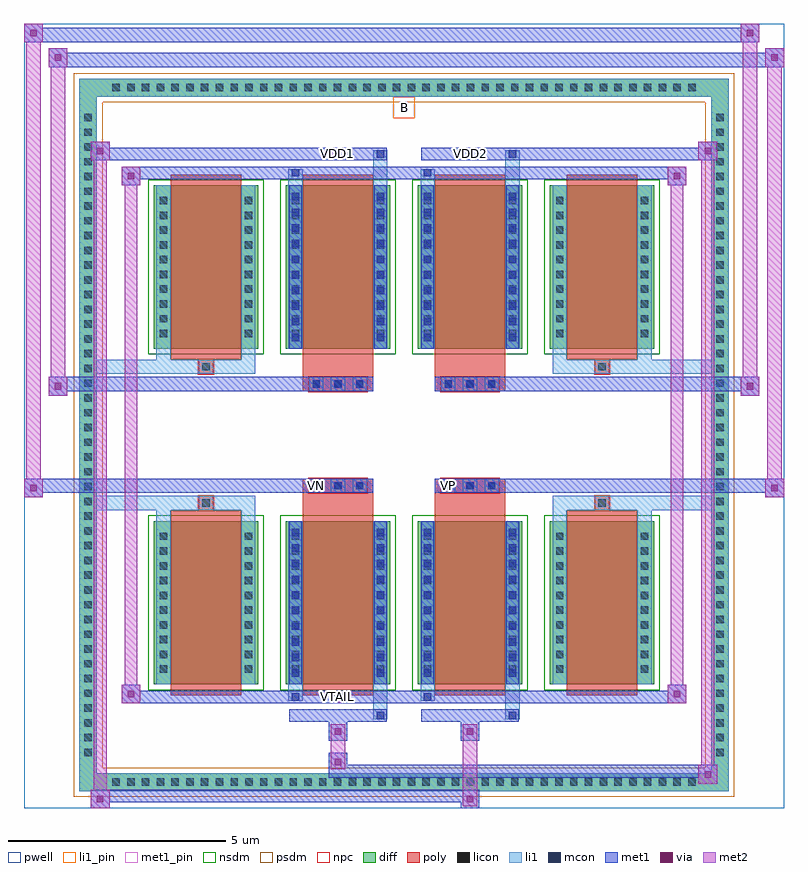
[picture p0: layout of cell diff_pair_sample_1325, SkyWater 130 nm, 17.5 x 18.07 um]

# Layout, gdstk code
import gdstk
lib = gdstk.Library(unit=1e-6, precision=5e-09)
def R(c, l, rs):  # rectangles x0, y0, x1, y1
    for r in rs: c.add(gdstk.rectangle(r[:2], r[2:], *l))
def A(c, l, x, y, w, h, nx, ny, dx, dy):  # array of equal rectangles
    R(c, l, [(x+i*dx, y+j*dy, x+i*dx+w, y+j*dy+h) for i in range(nx) for j in range(ny)])
def P(c, l, *ps):  # polygons
    for p in ps: c.add(gdstk.Polygon(p, *l))
pwell = (64, 44)
diff = (65, 20)
poly = (66, 20)
licon = (66, 44)
li1_pin = (67, 16)
li1 = (67, 20)
mcon = (67, 44)
met1_pin = (68, 16)
met1 = (68, 20)
via = (68, 44)
met2 = (69, 20)
nsdm = (93, 44)
psdm = (94, 20)
npc = (95, 20)

diff_pair_sample_1325 = lib.new_cell('diff_pair_sample_1325')
R(diff_pair_sample_1325, pwell, [(-8.75,-8.6,8.75,9.47), (-6.07,-6.79,-0.01,-0.805), (0.01,-6.79,6.07,-0.805), (-6.07,0.805,-0.01,6.79), (0.01,0.805,6.07,6.79)])
A(diff_pair_sample_1325, diff, -6.835, -8.2, 0.41, 0.41, 40, 2, 0.34, 15.99)
A(diff_pair_sample_1325, diff, -7.48, -7.515, 0.41, 0.41, 1, 44, 0, 0.34)
A(diff_pair_sample_1325, diff, 7.07, -7.515, 0.41, 0.41, 1, 44, 0, 0.34)
A(diff_pair_sample_1325, diff, -5.76, -5.745, 2.4, 3.76, 4, 2, 3.04, 7.73)
R(diff_pair_sample_1325, diff, [(-6.835,-8.2,6.835,-7.79), (-7.48,-7.515,-7.07,7.515), (7.07,-7.515,7.48,7.515), (-6.835,7.79,6.835,8.2)])
P(diff_pair_sample_1325, diff, [(7.48,8.2),(-7.48,8.2),(-7.48,-7.79),(-7.07,-7.79),(-7.07,7.79),(7.07,7.79),(7.07,-7.79),(-7.07,-7.79),(-7.48,-7.79),(-7.48,-8.2),(7.48,-8.2)])
A(diff_pair_sample_1325, poly, -5.37, -5.995, 1.62, 4.26, 4, 2, 3.04, 7.73)
A(diff_pair_sample_1325, poly, -2.185, -1.335, 0.33, 0.33, 3, 2, 0.5, 2.34)
A(diff_pair_sample_1325, poly, 0.855, -1.335, 0.33, 0.33, 3, 2, 0.5, 2.34)
R(diff_pair_sample_1325, poly, [(-4.725,-1.735,-4.395,-1.405), (-4.725,-1.735,-4.395,-1.405), (-2.33,-1.735,-0.71,-1.335), (0.71,-1.735,2.33,-1.335), (4.395,-1.735,4.725,-1.405), (4.395,-1.735,4.725,-1.405), (-2.33,-1.335,-0.71,-1.005), (0.71,-1.335,2.33,-1.005), (-2.33,1.005,-0.71,1.335), (0.71,1.005,2.33,1.335), (-2.33,1.335,-0.71,1.735), (0.71,1.335,2.33,1.735), (-4.725,1.405,-4.395,1.735), (-4.725,1.405,-4.395,1.735), (4.395,1.405,4.725,1.735), (4.395,1.405,4.725,1.735)])
A(diff_pair_sample_1325, licon, -6.715, -8.08, 0.17, 0.17, 40, 2, 0.34, 15.99)
A(diff_pair_sample_1325, licon, -7.36, -7.395, 0.17, 0.17, 1, 44, 0, 0.34)
A(diff_pair_sample_1325, licon, 7.19, -7.395, 0.17, 0.17, 1, 44, 0, 0.34)
A(diff_pair_sample_1325, licon, -5.62, -5.48, 0.17, 0.17, 1, 10, 0, 0.34)
A(diff_pair_sample_1325, licon, -3.67, -5.48, 0.17, 0.17, 1, 10, 0, 0.34)
A(diff_pair_sample_1325, licon, -2.58, -5.48, 0.17, 0.17, 1, 10, 0, 0.34)
A(diff_pair_sample_1325, licon, -0.63, -5.48, 0.17, 0.17, 1, 10, 0, 0.34)
A(diff_pair_sample_1325, licon, 0.46, -5.48, 0.17, 0.17, 1, 10, 0, 0.34)
A(diff_pair_sample_1325, licon, 2.41, -5.48, 0.17, 0.17, 1, 10, 0, 0.34)
A(diff_pair_sample_1325, licon, 3.5, -5.48, 0.17, 0.17, 1, 10, 0, 0.34)
A(diff_pair_sample_1325, licon, 5.45, -5.48, 0.17, 0.17, 1, 10, 0, 0.34)
A(diff_pair_sample_1325, licon, -2.105, -1.255, 0.17, 0.17, 3, 2, 0.5, 2.34)
A(diff_pair_sample_1325, licon, 0.935, -1.255, 0.17, 0.17, 3, 2, 0.5, 2.34)
A(diff_pair_sample_1325, licon, -5.62, 2.25, 0.17, 0.17, 1, 10, 0, 0.34)
A(diff_pair_sample_1325, licon, -3.67, 2.25, 0.17, 0.17, 1, 10, 0, 0.34)
A(diff_pair_sample_1325, licon, -2.58, 2.25, 0.17, 0.17, 1, 10, 0, 0.34)
A(diff_pair_sample_1325, licon, -0.63, 2.25, 0.17, 0.17, 1, 10, 0, 0.34)
A(diff_pair_sample_1325, licon, 0.46, 2.25, 0.17, 0.17, 1, 10, 0, 0.34)
A(diff_pair_sample_1325, licon, 2.41, 2.25, 0.17, 0.17, 1, 10, 0, 0.34)
A(diff_pair_sample_1325, licon, 3.5, 2.25, 0.17, 0.17, 1, 10, 0, 0.34)
A(diff_pair_sample_1325, licon, 5.45, 2.25, 0.17, 0.17, 1, 10, 0, 0.34)
R(diff_pair_sample_1325, licon, [(-4.645,-1.655,-4.475,-1.485), (4.475,-1.655,4.645,-1.485), (-4.645,1.485,-4.475,1.655), (4.475,1.485,4.645,1.655)])
R(diff_pair_sample_1325, li1_pin, [(-0.25,7.29,0.25,7.79)])
A(diff_pair_sample_1325, li1, -6.795, -8.16, 0.33, 0.33, 40, 2, 0.34, 15.99)
A(diff_pair_sample_1325, li1, -7.44, -7.475, 0.33, 0.33, 1, 44, 0, 0.34)
A(diff_pair_sample_1325, li1, 7.11, -7.475, 0.33, 0.33, 1, 44, 0, 0.34)
A(diff_pair_sample_1325, li1, -2.58, -5.57, 0.17, 0.17, 1, 10, 0, 0.36)
A(diff_pair_sample_1325, li1, -0.63, -5.57, 0.17, 0.17, 1, 10, 0, 0.36)
A(diff_pair_sample_1325, li1, 0.46, -5.57, 0.17, 0.17, 1, 10, 0, 0.36)
A(diff_pair_sample_1325, li1, 2.41, -5.57, 0.17, 0.17, 1, 10, 0, 0.36)
A(diff_pair_sample_1325, li1, -5.7, -5.56, 0.33, 0.33, 1, 10, 0, 0.34)
A(diff_pair_sample_1325, li1, -3.75, -5.56, 0.33, 0.33, 1, 10, 0, 0.34)
A(diff_pair_sample_1325, li1, -2.66, -5.56, 0.33, 0.33, 1, 10, 0, 0.34)
A(diff_pair_sample_1325, li1, -0.71, -5.56, 0.33, 0.33, 1, 10, 0, 0.34)
A(diff_pair_sample_1325, li1, 0.38, -5.56, 0.33, 0.33, 1, 10, 0, 0.34)
A(diff_pair_sample_1325, li1, 2.33, -5.56, 0.33, 0.33, 1, 10, 0, 0.34)
A(diff_pair_sample_1325, li1, 3.42, -5.56, 0.33, 0.33, 1, 10, 0, 0.34)
A(diff_pair_sample_1325, li1, 5.37, -5.56, 0.33, 0.33, 1, 10, 0, 0.34)
A(diff_pair_sample_1325, li1, -2.185, -1.335, 0.33, 0.33, 3, 2, 0.5, 2.34)
A(diff_pair_sample_1325, li1, 0.855, -1.335, 0.33, 0.33, 3, 2, 0.5, 2.34)
A(diff_pair_sample_1325, li1, -2.58, 2.16, 0.17, 0.17, 1, 10, 0, 0.36)
A(diff_pair_sample_1325, li1, -0.63, 2.16, 0.17, 0.17, 1, 10, 0, 0.36)
A(diff_pair_sample_1325, li1, 0.46, 2.16, 0.17, 0.17, 1, 10, 0, 0.36)
A(diff_pair_sample_1325, li1, 2.41, 2.16, 0.17, 0.17, 1, 10, 0, 0.36)
A(diff_pair_sample_1325, li1, -5.7, 2.17, 0.33, 0.33, 1, 10, 0, 0.34)
A(diff_pair_sample_1325, li1, -3.75, 2.17, 0.33, 0.33, 1, 10, 0, 0.34)
A(diff_pair_sample_1325, li1, -2.66, 2.17, 0.33, 0.33, 1, 10, 0, 0.34)
A(diff_pair_sample_1325, li1, -0.71, 2.17, 0.33, 0.33, 1, 10, 0, 0.34)
A(diff_pair_sample_1325, li1, 0.38, 2.17, 0.33, 0.33, 1, 10, 0, 0.34)
A(diff_pair_sample_1325, li1, 2.33, 2.17, 0.33, 0.33, 1, 10, 0, 0.34)
A(diff_pair_sample_1325, li1, 3.42, 2.17, 0.33, 0.33, 1, 10, 0, 0.34)
A(diff_pair_sample_1325, li1, 5.37, 2.17, 0.33, 0.33, 1, 10, 0, 0.34)
R(diff_pair_sample_1325, li1, [(-7.48,-8.2,-7.07,-7.79), (-7.48,-8.2,-7.07,-7.79), (-7.07,-8.2,7.07,-7.79), (7.07,-8.2,7.48,-7.79), (7.07,-8.2,7.48,-7.79), (-7.48,-7.79,-7.07,7.79), (7.07,-7.79,7.48,7.79), (-0.71,-6.55,-0.38,-5.745), (-0.63,-6.55,-0.46,-6.38), (2.33,-6.55,2.66,-5.745), (2.41,-6.55,2.58,-6.38), (-2.66,-6.12,-2.33,-5.745), (-2.58,-6.12,-2.41,-5.95), (0.38,-6.12,0.71,-5.745), (0.46,-6.12,0.63,-5.95), (-5.7,-5.745,-5.37,-1.985), (-3.75,-5.745,-3.42,-1.985), (-2.66,-5.745,-2.33,-1.985), (-0.71,-5.745,-0.38,-1.985), (0.38,-5.745,0.71,-1.985), (2.33,-5.745,2.66,-1.985), (3.42,-5.745,3.75,-1.985), (5.37,-5.745,5.7,-1.985), (-2.58,-5.57,-2.41,-2.16), (-0.63,-5.57,-0.46,-2.16), (0.46,-5.57,0.63,-2.16), (2.41,-5.57,2.58,-2.16), (-5.7,-1.985,-5.37,-1.405), (-3.75,-1.985,-3.42,-1.405), (3.42,-1.985,3.75,-1.405), (5.37,-1.985,5.7,-1.405), (-7.48,-1.735,-4.725,-1.405), (-5.7,-1.735,-4.725,-1.405), (-4.725,-1.735,-4.395,-1.405), (-4.395,-1.735,-3.42,-1.405), (3.42,-1.735,4.395,-1.405), (4.395,-1.735,4.725,-1.405), (4.395,-1.735,7.48,-1.405), (4.725,-1.735,5.7,-1.405), (-7.48,1.405,-4.725,1.735), (-5.7,1.405,-4.725,1.735), (-5.7,1.405,-5.37,1.985), (-4.725,1.405,-4.395,1.735), (-4.395,1.405,-3.42,1.735), (-3.75,1.405,-3.42,1.985), (3.42,1.405,4.395,1.735), (3.42,1.405,3.75,1.985), (4.395,1.405,4.725,1.735), (4.395,1.405,7.48,1.735), (4.725,1.405,5.7,1.735), (5.37,1.405,5.7,1.985), (-5.7,1.985,-5.37,5.745), (-3.75,1.985,-3.42,5.745), (-2.66,1.985,-2.33,5.745), (-0.71,1.985,-0.38,5.745), (0.38,1.985,0.71,5.745), (2.33,1.985,2.66,5.745), (3.42,1.985,3.75,5.745), (5.37,1.985,5.7,5.745), (-2.58,2.16,-2.41,5.57), (-0.63,2.16,-0.46,5.57), (0.46,2.16,0.63,5.57), (2.41,2.16,2.58,5.57), (-2.66,5.745,-2.33,6.12), (-0.71,5.745,-0.38,6.55), (0.38,5.745,0.71,6.12), (2.33,5.745,2.66,6.55), (-2.58,5.95,-2.41,6.12), (0.46,5.95,0.63,6.12), (-0.63,6.38,-0.46,6.55), (2.41,6.38,2.58,6.55), (-7.48,7.79,-7.07,8.2), (-7.48,7.79,-7.07,8.2), (-7.07,7.79,7.07,8.2), (7.07,7.79,7.48,8.2), (7.07,7.79,7.48,8.2)])
A(diff_pair_sample_1325, mcon, -2.58, -5.57, 0.17, 0.17, 1, 10, 0, 0.36)
A(diff_pair_sample_1325, mcon, -0.63, -5.57, 0.17, 0.17, 1, 10, 0, 0.36)
A(diff_pair_sample_1325, mcon, 0.46, -5.57, 0.17, 0.17, 1, 10, 0, 0.36)
A(diff_pair_sample_1325, mcon, 2.41, -5.57, 0.17, 0.17, 1, 10, 0, 0.36)
A(diff_pair_sample_1325, mcon, -2.105, -1.255, 0.17, 0.17, 3, 2, 0.5, 2.34)
A(diff_pair_sample_1325, mcon, 0.935, -1.255, 0.17, 0.17, 3, 2, 0.5, 2.34)
A(diff_pair_sample_1325, mcon, -2.58, 2.16, 0.17, 0.17, 1, 10, 0, 0.36)
A(diff_pair_sample_1325, mcon, -0.63, 2.16, 0.17, 0.17, 1, 10, 0, 0.36)
A(diff_pair_sample_1325, mcon, 0.46, 2.16, 0.17, 0.17, 1, 10, 0, 0.36)
A(diff_pair_sample_1325, mcon, 2.41, 2.16, 0.17, 0.17, 1, 10, 0, 0.36)
R(diff_pair_sample_1325, mcon, [(-0.63,-6.55,-0.46,-6.38), (2.41,-6.55,2.58,-6.38), (-2.58,-6.12,-2.41,-5.95), (0.46,-6.12,0.63,-5.95), (-2.58,5.95,-2.41,6.12), (0.46,5.95,0.63,6.12), (-0.63,6.38,-0.46,6.55), (2.41,6.38,2.58,6.55)])
R(diff_pair_sample_1325, met1_pin, [(-1.655,-6.16,-1.385,-5.89), (-2.155,-1.295,-1.885,-1.025), (0.885,-1.295,1.155,-1.025), (-1.655,6.34,-1.385,6.61), (1.385,6.34,1.655,6.61)])
A(diff_pair_sample_1325, met1, -2.64, -5.63, 0.29, 0.29, 1, 10, 0, 0.36)
A(diff_pair_sample_1325, met1, -0.69, -5.63, 0.29, 0.29, 1, 10, 0, 0.36)
A(diff_pair_sample_1325, met1, 0.4, -5.63, 0.29, 0.29, 1, 10, 0, 0.36)
A(diff_pair_sample_1325, met1, 2.35, -5.63, 0.29, 0.29, 1, 10, 0, 0.36)
A(diff_pair_sample_1325, met1, -2.165, -1.315, 0.29, 0.29, 3, 2, 0.5, 2.34)
A(diff_pair_sample_1325, met1, 0.875, -1.315, 0.29, 0.29, 3, 2, 0.5, 2.34)
A(diff_pair_sample_1325, met1, -2.64, 2.1, 0.29, 0.29, 1, 10, 0, 0.36)
A(diff_pair_sample_1325, met1, -0.69, 2.1, 0.29, 0.29, 1, 10, 0, 0.36)
A(diff_pair_sample_1325, met1, 0.4, 2.1, 0.29, 0.29, 1, 10, 0, 0.36)
A(diff_pair_sample_1325, met1, 2.35, 2.1, 0.29, 0.29, 1, 10, 0, 0.36)
R(diff_pair_sample_1325, met1, [(-7.21,-8.6,-6.78,-8.17), (1.305,-8.6,1.735,-8.17), (-7.21,-8.46,1.735,-8.17), (6.78,-8.03,7.21,-7.6), (-1.735,-7.89,7.21,-7.6), (-1.735,-7.75,-1.305,-7.32), (-1.735,-7.04,-1.305,-6.61), (1.305,-7.04,1.735,-6.61), (-2.64,-6.61,-0.4,-6.32), (-0.69,-6.61,-0.4,-6.32), (0.4,-6.61,2.64,-6.32), (2.35,-6.61,2.64,-6.32), (-6.5,-6.18,-6.07,-5.75), (-6.5,-6.18,-2.64,-5.89), (-2.64,-6.18,-2.35,-5.89), (-2.64,-6.18,-0.4,-5.89), (-0.4,-6.18,0.4,-5.89), (0.4,-6.18,0.69,-5.89), (0.4,-6.18,2.64,-5.89), (2.64,-6.18,6.5,-5.89), (6.07,-6.18,6.5,-5.75), (-2.64,-5.745,-2.35,-1.985), (-0.69,-5.745,-0.4,-1.985), (0.4,-5.745,0.69,-1.985), (2.35,-5.745,2.64,-1.985), (-8.75,-1.435,-8.32,-1.005), (8.32,-1.435,8.75,-1.005), (-8.75,-1.335,-0.71,-1.005), (-2.33,-1.335,-0.71,-1.005), (0.71,-1.335,2.33,-1.005), (0.71,-1.335,8.75,-1.005), (-8.18,0.905,-7.75,1.335), (7.75,0.905,8.18,1.335), (-8.18,1.005,-2.33,1.335), (-2.33,1.005,-0.71,1.335), (0.71,1.005,2.33,1.335), (2.33,1.005,8.18,1.335), (-2.64,1.985,-2.35,5.745), (-0.69,1.985,-0.4,5.745), (0.4,1.985,0.69,5.745), (2.35,1.985,2.64,5.745), (-6.5,5.75,-6.07,6.18), (6.07,5.75,6.5,6.18), (-6.5,5.89,-2.64,6.18), (-2.64,5.89,-2.35,6.18), (-2.64,5.89,-0.4,6.18), (-0.4,5.89,0.4,6.18), (0.4,5.89,0.69,6.18), (0.4,5.89,2.64,6.18), (2.64,5.89,6.5,6.18), (-7.21,6.32,-6.78,6.75), (-7.21,6.32,-2.64,6.61), (-2.64,6.32,-0.4,6.61), (-0.69,6.32,-0.4,6.61), (0.4,6.32,2.64,6.61), (2.35,6.32,2.64,6.61), (2.64,6.32,7.21,6.61), (6.78,6.32,7.21,6.75), (-8.18,8.47,-7.75,8.9), (-8.18,8.47,-6.07,8.8), (-6.07,8.47,6.07,8.8), (6.07,8.47,8.75,8.8), (8.32,8.47,8.75,8.9), (-8.75,9.04,-8.32,9.47), (-8.75,9.04,-6.07,9.37), (-6.07,9.04,6.07,9.37), (6.07,9.04,8.18,9.37), (7.75,9.04,8.18,9.47)])
R(diff_pair_sample_1325, via, [(-7.07,-8.46,-6.92,-8.31), (1.445,-8.46,1.595,-8.31), (6.92,-7.89,7.07,-7.74), (-1.595,-7.61,-1.445,-7.46), (-1.595,-6.9,-1.445,-6.75), (1.445,-6.9,1.595,-6.75), (-6.36,-6.04,-6.21,-5.89), (6.21,-6.04,6.36,-5.89), (-8.61,-1.295,-8.46,-1.145), (8.46,-1.295,8.61,-1.145), (-8.04,1.045,-7.89,1.195), (7.89,1.045,8.04,1.195), (-6.36,5.89,-6.21,6.04), (6.21,5.89,6.36,6.04), (-7.07,6.46,-6.92,6.61), (6.92,6.46,7.07,6.61), (-8.04,8.61,-7.89,8.76), (8.46,8.61,8.61,8.76), (-8.61,9.18,-8.46,9.33), (7.89,9.18,8.04,9.33)])
R(diff_pair_sample_1325, met2, [(-7.21,-8.6,-6.78,-8.17), (-7.14,-8.6,-6.85,6.75), (-6.85,-8.6,-6.78,-8.17), (-7.16,-8.55,-6.83,-8.22), (1.355,-8.55,1.685,-8.22), (1.355,-8.22,1.685,-6.99), (6.78,-8.03,7.21,-7.6), (6.85,-8.03,7.14,6.75), (7.14,-8.03,7.21,-7.6), (6.83,-7.98,7.16,-7.65), (-1.685,-7.7,-1.355,-7.37), (-1.685,-7.37,-1.355,-6.99), (-1.685,-6.99,-1.355,-6.66), (1.355,-6.99,1.685,-6.66), (-6.5,-6.18,-6.07,-5.75), (-6.43,-6.18,-6.14,6.18), (-6.14,-6.18,-6.07,-5.75), (6.07,-6.18,6.5,-5.75), (6.14,-6.18,6.43,6.18), (6.43,-6.18,6.5,-5.75), (-6.45,-6.13,-6.12,-5.8), (6.12,-6.13,6.45,-5.8), (-8.75,-1.435,-8.32,-1.005), (-8.7,-1.435,-8.37,9.47), (-8.37,-1.435,-8.32,-1.005), (8.32,-1.435,8.75,-1.005), (8.37,-1.435,8.7,8.9), (8.7,-1.435,8.75,-1.005), (-8.7,-1.385,-8.37,-1.055), (8.37,-1.385,8.7,-1.055), (-8.18,0.905,-7.75,1.335), (-8.13,0.905,-7.8,8.9), (-7.8,0.905,-7.75,1.335), (7.75,0.905,8.18,1.335), (7.8,0.905,8.13,9.47), (8.13,0.905,8.18,1.335), (-8.13,0.955,-7.8,1.285), (7.8,0.955,8.13,1.285), (-6.5,5.75,-6.07,6.18), (-6.14,5.75,-6.07,6.18), (6.07,5.75,6.5,6.18), (6.43,5.75,6.5,6.18), (-6.45,5.8,-6.12,6.13), (6.12,5.8,6.45,6.13), (-7.21,6.32,-6.78,6.75), (-6.85,6.32,-6.78,6.75), (6.78,6.32,7.21,6.75), (7.14,6.32,7.21,6.75), (-7.16,6.37,-6.83,6.7), (6.83,6.37,7.16,6.7), (-8.18,8.47,-7.75,8.9), (-7.8,8.47,-7.75,8.9), (8.32,8.47,8.75,8.9), (8.7,8.47,8.75,8.9), (-8.13,8.52,-7.8,8.85), (8.37,8.52,8.7,8.85), (-8.75,9.04,-8.32,9.47), (-8.37,9.04,-8.32,9.47), (7.75,9.04,8.18,9.47), (8.13,9.04,8.18,9.47), (-8.7,9.09,-8.37,9.42), (7.8,9.09,8.13,9.42)])
A(diff_pair_sample_1325, nsdm, -5.89, -5.875, 2.66, 4.02, 4, 2, 3.04, 7.73)
P(diff_pair_sample_1325, psdm, [(7.61,8.33),(-7.61,8.33),(-7.61,-7.66),(-6.94,-7.66),(-6.94,7.66),(6.94,7.66),(6.94,-7.66),(-6.94,-7.66),(-7.61,-7.66),(-7.61,-8.33),(7.61,-8.33)])
A(diff_pair_sample_1325, npc, -2.205, -1.355, 0.37, 0.37, 3, 2, 0.5, 2.34)
A(diff_pair_sample_1325, npc, 0.835, -1.355, 0.37, 0.37, 3, 2, 0.5, 2.34)
R(diff_pair_sample_1325, npc, [(-4.745,-1.755,-4.375,-1.385), (4.375,-1.755,4.745,-1.385), (-2.205,-1.355,-1.335,-0.985), (-2.205,-1.355,-1.335,-0.985), (-1.705,-1.355,-0.835,-0.985), (-1.705,-1.355,-0.835,-0.985), (0.835,-1.355,1.705,-0.985), (0.835,-1.355,1.705,-0.985), (1.335,-1.355,2.205,-0.985), (1.335,-1.355,2.205,-0.985), (-2.205,0.985,-1.335,1.355), (-2.205,0.985,-1.335,1.355), (-1.705,0.985,-0.835,1.355), (-1.705,0.985,-0.835,1.355), (0.835,0.985,1.705,1.355), (0.835,0.985,1.705,1.355), (1.335,0.985,2.205,1.355), (1.335,0.985,2.205,1.355), (-4.745,1.385,-4.375,1.755), (4.375,1.385,4.745,1.755)])
diff_pair_sample_1325.add(gdstk.Label('VTAIL', (-1.52,-6.025), layer=68, texttype=5))
diff_pair_sample_1325.add(gdstk.Label('VN', (-2.02,-1.16), layer=68, texttype=5))
diff_pair_sample_1325.add(gdstk.Label('VP', (1.02,-1.16), layer=68, texttype=5))
diff_pair_sample_1325.add(gdstk.Label('B', (0,7.54), layer=67, texttype=5))
diff_pair_sample_1325.add(gdstk.Label('VDD2', (1.52,6.475), layer=68, texttype=5))
diff_pair_sample_1325.add(gdstk.Label('VDD1', (-1.52,6.475), layer=68, texttype=5))

lib.write_gds('diff_pair_sample_1325.gds')
